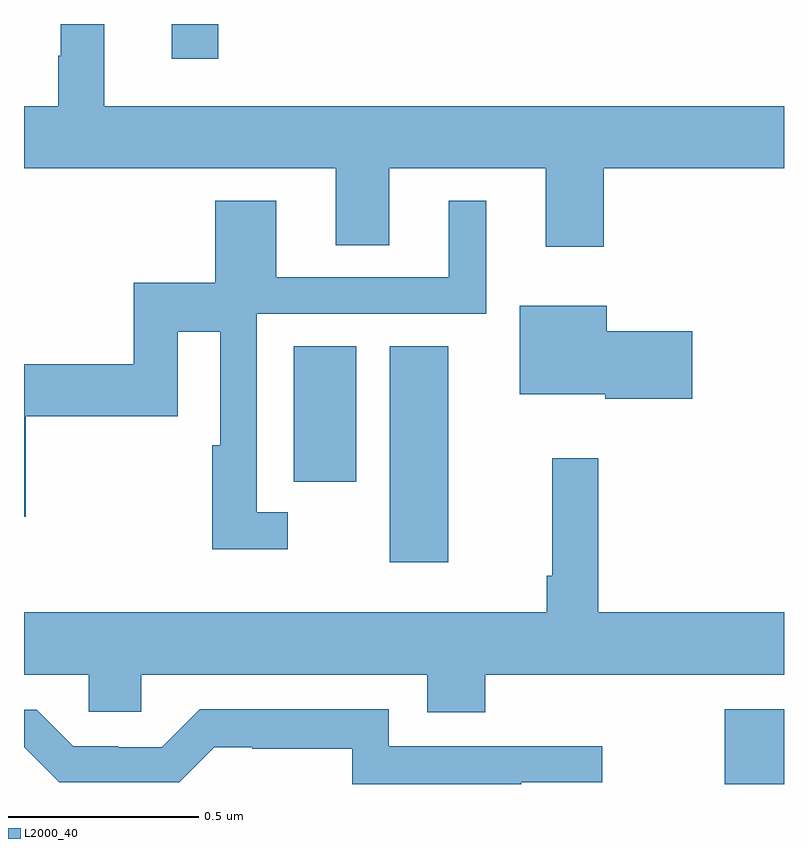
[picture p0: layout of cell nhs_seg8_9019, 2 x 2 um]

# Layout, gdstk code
import gdstk
lib = gdstk.Library(unit=1e-6, precision=1e-09)
def R(c, l, rs):  # rectangles x0, y0, x1, y1
    for r in rs: c.add(gdstk.rectangle(r[:2], r[2:], *l))
def P(c, l, *ps):  # polygons
    for p in ps: c.add(gdstk.Polygon(p, *l))
L2000_40 = (2000, 40)

nhs_seg8_9019 = lib.new_cell('nhs_seg8_9019')
R(nhs_seg8_9019, L2000_40, [(232.844,1094.9,233,1095.097), (231.962,1095.483,232.117,1096.052), (231.71,1095.696,231.874,1096.052), (231.389,1096.809,231.511,1096.9)])
P(nhs_seg8_9019, L2000_40, [(232.526,1096.52),(233,1096.52),(233,1096.684),(231.211,1096.684),(231.211,1096.9),(231.097,1096.9),(231.097,1096.817),(231.09,1096.817),(231.09,1096.684),(231,1096.684),(231,1096.52),(231.821,1096.52),(231.821,1096.318),(231.961,1096.318),(231.961,1096.52),(232.373,1096.52),(232.373,1096.314),(232.526,1096.314)],
  [(231.694,1095.615),(231.612,1095.615),(231.612,1096.137),(232.216,1096.137),(232.216,1096.435),(232.118,1096.435),(232.118,1096.233),(231.664,1096.233),(231.664,1096.435),(231.503,1096.435),(231.503,1096.219),(231.289,1096.219),(231.289,1096.004),(231,1096.004),(231,1095.603),(231.005,1095.603),(231.005,1095.868),(231.405,1095.868),(231.405,1096.09),(231.516,1096.09),(231.516,1095.791),(231.496,1095.791),(231.496,1095.518),(231.694,1095.518)],
  [(232.759,1096.092),(232.534,1096.092),(232.534,1096.159),(232.304,1096.159),(232.304,1095.926),(232.53,1095.926),(232.53,1095.914),(232.759,1095.914)],
  [(232.214,1095.188),(233,1095.188),(233,1095.352),(232.511,1095.352),(232.511,1095.757),(232.39,1095.757),(232.39,1095.448),(232.375,1095.448),(232.375,1095.352),(231,1095.352),(231,1095.188),(231.171,1095.188),(231.171,1095.09),(231.309,1095.09),(231.309,1095.188),(232.061,1095.188),(232.061,1095.089),(232.214,1095.089)],
  [(232.308,1094.904),(232.522,1094.904),(232.522,1095),(231.96,1095),(231.96,1095.097),(231.463,1095.097),(231.363,1094.997),(231.248,1094.997),(231.248,1095),(231.129,1095),(231.033,1095.096),(231,1095.096),(231,1094.997),(231.093,1094.904),(231.408,1094.904),(231.501,1094.997),(231.601,1094.997),(231.601,1094.993),(231.864,1094.993),(231.864,1094.9),(232.308,1094.9)])

lib.write_gds('nhs_seg8_9019.gds')
